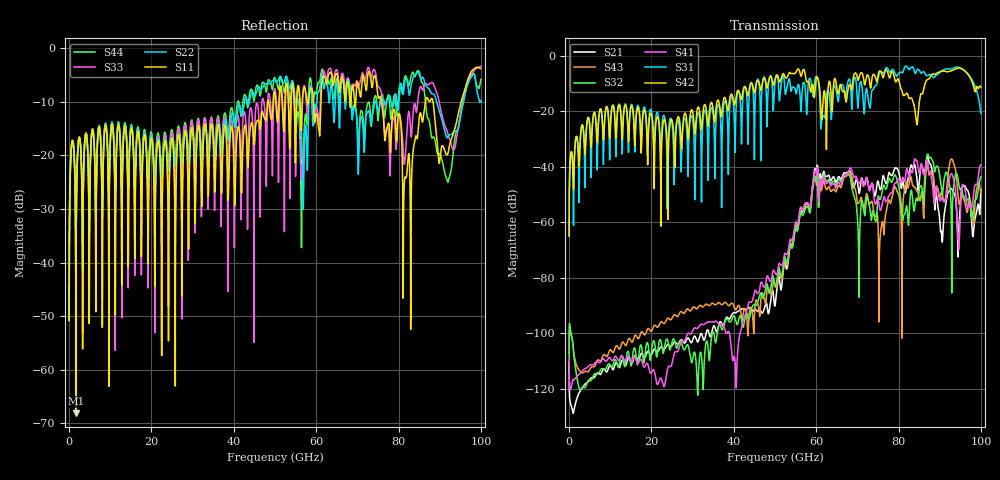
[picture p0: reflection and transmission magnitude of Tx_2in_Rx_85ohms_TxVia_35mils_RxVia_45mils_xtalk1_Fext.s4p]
! Info: Touchstone file created by Circ.  Input file=Tx_2in_Rx_85ohms_TxVia_35mils_RxVia_45mils.circ
# Hz S RI R 50
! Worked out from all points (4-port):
!   10000 points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, 10 MHz to 100 GHz, reference 50 ohm
!   strongest paths, dB at 10 MHz, 25.01 GHz, 50.01 GHz, 75.01 GHz, 100 GHz:
!     S42: -65.0, -23.3, -8.5, -7.1, -11.3
!     S31: -65.0, -24.6, -9.7, -8.3, -20.8
!     S41: -109.5, -110.9, -78.3, -51.3, -39.4
!     S32: -114.2, -103.1, -83.1, -50.9, -43.6
!     S43: -107.4, -94.6, -82.8, -60.7, -49.6
!     S21: -110.3, -104.5, -90.0, -45.2, -48.3
!   lowest |S11| = -68.1 dB at 1.65 GHz (marker M1), VSWR 1.00, Z = 50 + j0.0347 ohm
!   |S11| at or under -10 dB: start of sweep to 48.22 GHz; 75.85 GHz to 86.52 GHz (10.68 GHz wide, 13.2 % of centre); 88.38 GHz to 95.22 GHz (6.84 GHz wide, 7.45 % of centre)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
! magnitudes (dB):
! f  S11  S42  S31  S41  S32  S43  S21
! 10 MHz  -50.8  -65.0  -65.0  -109.5  -114.2  -107.4  -110.3
! 1.65 GHz  -68.1  -29.6  -29.6  -116.1  -113.5  -110.9  -124.8
! 51.41 GHz  -7.3  -8.7  -11.5  -75.5  -79.5  -80.0  -84.5
! 59.94 GHz  -12.5  -8.9  -7.4  -41.9  -44.6  -45.5  -41.2
! 87.24 GHz  -9.7  -8.5  -7.0  -40.5  -35.9  -41.3  -37.1
! 94.58 GHz  -12.1  -4.4  -4.1  -70.0  -45.7  -52.7  -64.8
! 100 GHz  -3.8  -11.3  -20.8  -39.4  -43.6  -49.6  -48.3
